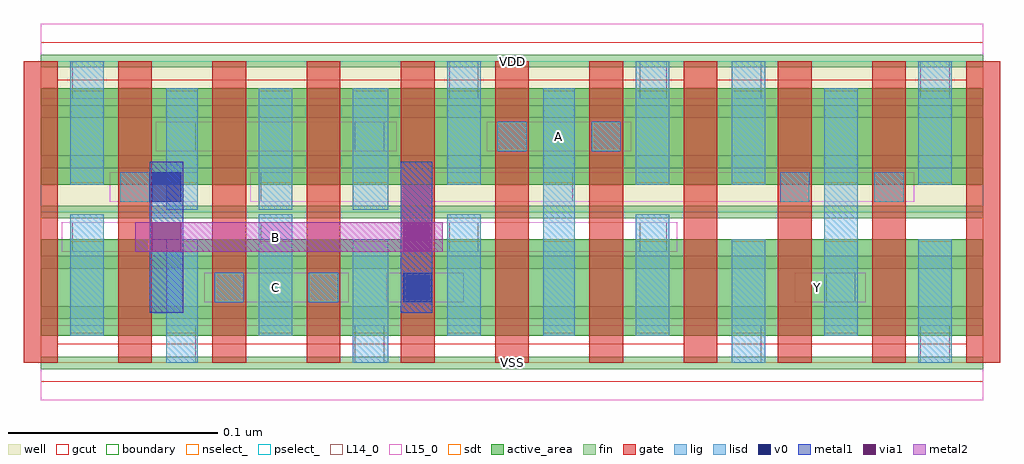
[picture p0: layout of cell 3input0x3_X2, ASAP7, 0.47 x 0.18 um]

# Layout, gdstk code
import gdstk
lib = gdstk.Library(unit=1e-6, precision=1e-09)
def R(c, l, rs):  # rectangles x0, y0, x1, y1
    for r in rs: c.add(gdstk.rectangle(r[:2], r[2:], *l))
def A(c, l, x, y, w, h, nx, ny, dx, dy):  # array of equal rectangles
    R(c, l, [(x+i*dx, y+j*dy, x+i*dx+w, y+j*dy+h) for i in range(nx) for j in range(ny)])
def P(c, l, *ps):  # polygons
    for p in ps: c.add(gdstk.Polygon(p, *l))
well = (1, 0)
fin = (2, 0)
gate = (7, 0)
gcut = (10, 0)
active_area = (11, 0)
nselect_ = (12, 0)
pselect_ = (13, 0)
L14_0 = (14, 0)
L15_0 = (15, 0)
lig = (16, 0)
lisd = (17, 0)
v0 = (18, 0)
metal1 = (19, 0)
metal2 = (20, 0)
via1 = (21, 0)
sdt = (88, 0)
boundary = (100, 0)

c_3input0x3_x2 = lib.new_cell('3input0x3_X2')
R(c_3input0x3_x2, well, [(0,0.072,0.45,0.144)])
A(c_3input0x3_x2, fin, 0, -0.003, 0.45, 0.006, 1, 7, 0, 0.024)
A(c_3input0x3_x2, gate, -0.008, 0, 0.016, 0.144, 11, 1, 0.045, 0)
P(c_3input0x3_x2, gcut, [(0,-0.009),(0,0),(-0.008,0),(-0.008,0.135),(0.008,0.135),(0.008,0.009),(0.307,0.009),(0.307,0.135),(0.323,0.135),(0.323,0.009),(0.442,0.009),(0.442,0.135),(-0.008,0.135),(-0.008,0.144),(0,0.144),(0,0.153),(0.45,0.153),(0.45,0.144),(0.458,0.144),(0.458,0),(0.45,0),(0.45,-0.009)])
R(c_3input0x3_x2, active_area, [(0,0.013,0.45,0.059), (0,0.085,0.45,0.131)])
R(c_3input0x3_x2, nselect_, [(0,0,0.45,0.072)])
R(c_3input0x3_x2, pselect_, [(0,0.072,0.45,0.144)])
A(c_3input0x3_x2, L14_0, 0.083, 0.029, 0.014, 0.014, 3, 1, 0.045, 0)
R(c_3input0x3_x2, L14_0, [(0.06,0,0.074,0.018), (0.15,0,0.164,0.018), (0.33,0,0.344,0.018), (0.42,0,0.434,0.018), (0.375,0.029,0.389,0.043), (0.015,0.053,0.03,0.067), (0.105,0.053,0.12,0.067), (0.195,0.053,0.209,0.067), (0.286,0.053,0.299,0.067), (0.038,0.077,0.052,0.091), (0.105,0.077,0.12,0.091), (0.24,0.077,0.254,0.091), (0.353,0.077,0.367,0.091), (0.398,0.077,0.412,0.091), (0.06,0.101,0.074,0.115), (0.15,0.101,0.164,0.115), (0.218,0.101,0.232,0.115), (0.263,0.101,0.277,0.115), (0.015,0.126,0.03,0.144), (0.195,0.126,0.209,0.144), (0.286,0.126,0.299,0.144), (0.33,0.126,0.344,0.144), (0.42,0.126,0.434,0.144)])
R(c_3input0x3_x2, L15_0, [(0,-0.018,0.45,0.018), (0.078,0.029,0.147,0.043), (0.165,0.029,0.202,0.043), (0.36,0.029,0.394,0.043), (0.01,0.053,0.304,0.067), (0.033,0.077,0.075,0.091), (0.1,0.077,0.417,0.091), (0.055,0.101,0.17,0.115), (0.213,0.101,0.282,0.115), (0,0.126,0.45,0.162)])
A(c_3input0x3_x2, lig, 0.083, 0.029, 0.014, 0.014, 3, 1, 0.045, 0)
R(c_3input0x3_x2, lig, [(0.038,0.077,0.052,0.091), (0.353,0.077,0.367,0.091), (0.398,0.077,0.412,0.091), (0.218,0.101,0.232,0.115), (0.263,0.101,0.277,0.115)])
A(c_3input0x3_x2, lisd, 0.014, 0.013, 0.016, 0.058, 4, 1, 0.09, 0)
R(c_3input0x3_x2, lisd, [(0.06,0,0.075,0.059), (0.149,0,0.166,0.059), (0.33,0,0.346,0.059), (0.419,0,0.435,0.059), (0.24,0.013,0.255,0.131), (0.374,0.013,0.39,0.131), (0.06,0.073,0.075,0.131), (0.104,0.073,0.12,0.131), (0.149,0.073,0.166,0.131), (0.014,0.085,0.03,0.144), (0.194,0.085,0.21,0.144), (0.284,0.085,0.3,0.144), (0.33,0.085,0.346,0.144), (0.419,0.085,0.435,0.144)])
R(c_3input0x3_x2, v0, [(0.173,0.029,0.187,0.043), (0.053,0.077,0.067,0.091)])
R(c_3input0x3_x2, metal1, [(0.052,0.024,0.068,0.096), (0.172,0.024,0.187,0.096)])
R(c_3input0x3_x2, metal2, [(0.045,0.053,0.192,0.067)])
R(c_3input0x3_x2, via1, [(0.053,0.053,0.067,0.067), (0.173,0.053,0.187,0.067)])
A(c_3input0x3_x2, sdt, 0.014, 0.014, 0.016, 0.044, 4, 2, 0.09, 0.072)
R(c_3input0x3_x2, sdt, [(0.06,0.014,0.075,0.058), (0.149,0.014,0.166,0.058), (0.24,0.014,0.255,0.058), (0.33,0.014,0.346,0.058), (0.374,0.014,0.39,0.058), (0.419,0.014,0.435,0.058), (0.06,0.086,0.075,0.13), (0.149,0.086,0.166,0.13), (0.24,0.086,0.255,0.13), (0.33,0.086,0.346,0.13), (0.374,0.086,0.39,0.13), (0.419,0.086,0.435,0.13)])
R(c_3input0x3_x2, boundary, [(0,0,0.45,0.144)])
c_3input0x3_x2.add(gdstk.Label('C', (0.112,0.036), layer=15, texttype=251))
c_3input0x3_x2.add(gdstk.Label('VSS', (0.225,0), layer=15, texttype=251))
c_3input0x3_x2.add(gdstk.Label('VDD', (0.225,0.144), layer=15, texttype=251))
c_3input0x3_x2.add(gdstk.Label('A', (0.247,0.108), layer=15, texttype=251))
c_3input0x3_x2.add(gdstk.Label('VSS', (0.225,0), layer=15, texttype=251))
c_3input0x3_x2.add(gdstk.Label('VDD', (0.225,0.144), layer=15, texttype=251))
c_3input0x3_x2.add(gdstk.Label('VSS', (0.225,0), layer=15, texttype=251))
c_3input0x3_x2.add(gdstk.Label('VDD', (0.225,0.144), layer=15, texttype=251))
c_3input0x3_x2.add(gdstk.Label('Y', (0.371,0.036), layer=15, texttype=251))
c_3input0x3_x2.add(gdstk.Label('VSS', (0.225,0), layer=15, texttype=251))
c_3input0x3_x2.add(gdstk.Label('VDD', (0.225,0.144), layer=15, texttype=251))
c_3input0x3_x2.add(gdstk.Label('VSS', (0.225,0), layer=3, texttype=251))
c_3input0x3_x2.add(gdstk.Label('VSS', (0.225,0), layer=3, texttype=251))
c_3input0x3_x2.add(gdstk.Label('VSS', (0.225,0), layer=3, texttype=251))
c_3input0x3_x2.add(gdstk.Label('VSS', (0.225,0), layer=3, texttype=251))
c_3input0x3_x2.add(gdstk.Label('VDD', (0.225,0.144), layer=1, texttype=251))
c_3input0x3_x2.add(gdstk.Label('VDD', (0.225,0.144), layer=1, texttype=251))
c_3input0x3_x2.add(gdstk.Label('VDD', (0.225,0.144), layer=1, texttype=251))
c_3input0x3_x2.add(gdstk.Label('VDD', (0.225,0.144), layer=1, texttype=251))
c_3input0x3_x2.add(gdstk.Label('B', (0.112,0.06), layer=20, texttype=251))

lib.write_gds('3input0x3_X2.gds')
